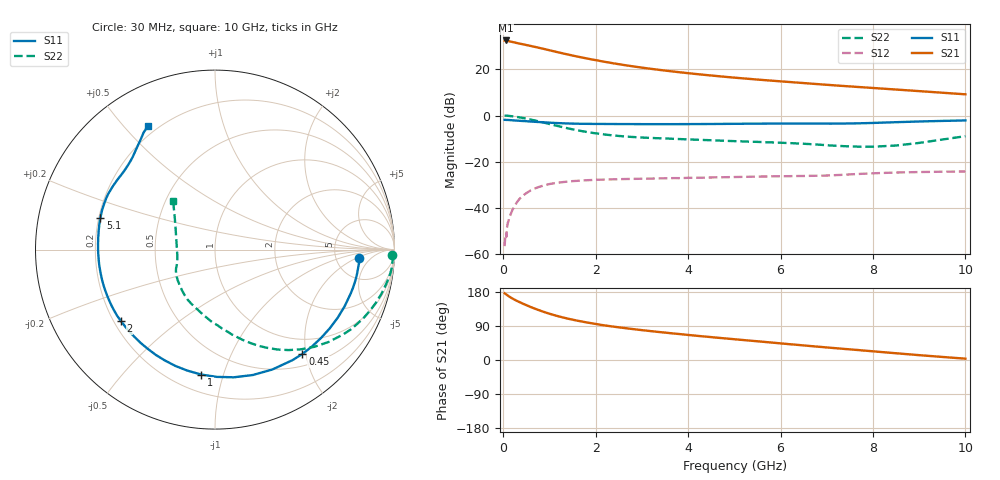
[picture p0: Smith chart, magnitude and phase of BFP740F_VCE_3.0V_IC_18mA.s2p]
! Infineon Technologies  Discrete & RF Semiconductors
! BFP740F
! VCE =  3.0 V,  IC =  18 mA
! Common Emitter S-Parameters:  Oct 2012
# GHz  S  MA  R  50
!  f  S11  S21  S12  S22
! GHz  MAG  ANG  MAG  ANG  MAG  ANG  MAG  ANG
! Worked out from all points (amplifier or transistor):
!   99 points, 30 MHz to 10 GHz, reference 50 ohm
!   highest |S21| = 32.4 dB at 50 MHz (marker M1)
!   |S21| within 3 dB of that: start of sweep to 734.9 MHz
!   unconditionally stable (mu >= 1): 6.021 GHz to end of sweep
!   at 350 MHz: K = 0.13, MSG = 33.6 dB, |S12| = -36.1 dB
!   at 3.5 GHz: K = 0.65, MSG = 23.3 dB, |S12| = -27.2 dB
!   at 10 GHz: K = 1.21, MAG = 13.9 dB, |S12| = -24.2 dB
!   S11 on the Smith chart (normalised r, x): 30 MHz: 8.62, -2.42; 450 MHz: 0.71, -1.94; 1 GHz: 0.31, -0.85; 2 GHz: 0.23, -0.32; 5.1 GHz: 0.21, +0.13; 10 GHz: 0.16, +0.58
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0.03  0.8059 -3.5  41.83 176.1  0.0015 96.4  0.9893 -1.8
0.05  0.8051 -5.9  41.88 174.4  0.0027 101.2  0.9917 -3.5
0.12  0.7984 -14.5  40.53 168.2  0.0056 82.5  0.9816 -9.1
0.2  0.7883 -23.6  38.77 162.2  0.0092 77.7  0.9599 -14.8
0.3  0.7752 -34.5  36.81 155.8  0.0135 72.4  0.9286 -21.4
0.45  0.7582 -50.0  34.22 147.3  0.0193 65.9  0.8766 -30.6
0.6  0.7404 -64.5  31.8 139.5  0.0243 58.4  0.8159 -39.1
0.7  0.7298 -73.2  30.19 134.8  0.0269 54.4  0.775 -44.3
0.9  0.7092 -89.2  27.19 126.0  0.0312 47.5  0.6937 -53.8
1  0.7004 -96.3  25.73 122.1  0.033 44.5  0.6556 -58.1
1.2  0.6847 -108.8  23.09 115.1  0.0354 39.5  0.5864 -65.9
1.3  0.6778 -114.4  21.91 112.0  0.0365 37.4  0.5553 -69.4
1.5  0.6678 -124.2  19.78 106.4  0.0382 33.9  0.5029 -75.8
1.7  0.6616 -132.5  17.96 101.5  0.0394 31.3  0.4599 -81.7
2  0.658 -142.9  15.73 95.1  0.0407 27.7  0.4116 -90.3
2.5  0.6536 -156.2  12.86 86.2  0.042 24.0  0.3616 -102.2
3.4  0.6505 -172.9  9.626 73.5  0.0438 20.9  0.3218 -116.9
4.2  0.6528 175.8  7.838 63.8  0.0453 19.9  0.2994 -125.9
5.1  0.663 164.5  6.456 53.7  0.047 19.1  0.277 -136.0
6.7  0.6687 146.2  4.85 36.3  0.0497 19.1  0.2389 -154.9
8.5  0.7173 127.2  3.641 17.8  0.0586 17.8  0.2245 164.2
10  0.7826 118.5  2.871 3.5  0.0617 13.3  0.3575 130.8
